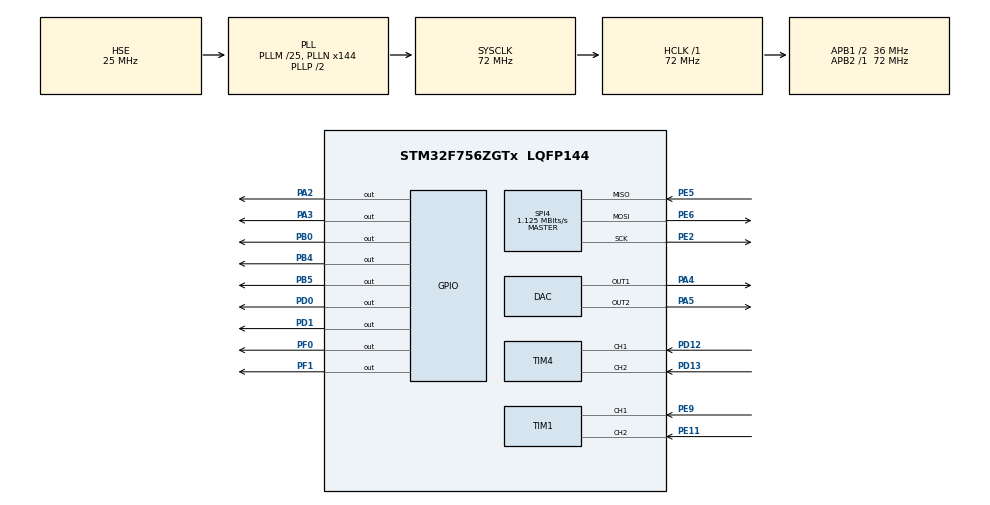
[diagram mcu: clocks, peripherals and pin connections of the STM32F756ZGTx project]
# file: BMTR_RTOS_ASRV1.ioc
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CORTEX_M7.default_mode_Activation=1
FATFS._MAX_SS=4096
FREERTOS.Tasks01=Record,0,128,StartDefaultTask,Default,NULL,Dynamic,NULL,NULL;MainController,3,128,StartTask02,Default,NULL,Dynamic,NULL,NULL
Mcu.Family=STM32F7
Mcu.Name=STM32F756ZGTx
Mcu.Package=LQFP144
NVIC.PriorityGroup=NVIC_PRIORITYGROUP_4
NVIC.TIM5_IRQn=true\:15\:0\:false\:false\:true\:false\:false\:true\:true
NVIC.TIM8_UP_TIM13_IRQn=true\:5\:0\:false\:false\:true\:true\:true\:true\:true
NVIC.TimeBase=TIM5_IRQn
NVIC.TimeBaseIP=TIM5
PA13.Mode=Serial_Wire
PA13.Signal=SYS_JTMS-SWDIO
PA14.Mode=Serial_Wire
PA14.Signal=SYS_JTCK-SWCLK
PA2.Signal=GPIO_Output
PA3.Signal=GPIO_Output
PA4.Signal=COMP_DAC1_group
PA5.Signal=COMP_DAC2_group
PB0.Signal=GPIO_Output
PB4.Signal=GPIO_Output
PB5.Signal=GPIO_Output
PD0.Signal=GPIO_Output
PD1.Signal=GPIO_Output
PD12.Signal=S_TIM4_CH1
PD13.Signal=S_TIM4_CH2
PE11.Signal=S_TIM1_CH2
PE2.Mode=Full_Duplex_Master
PE2.Signal=SPI4_SCK
PE5.Mode=Full_Duplex_Master
PE5.Signal=SPI4_MISO
PE6.Mode=Full_Duplex_Master
PE6.Signal=SPI4_MOSI
PE9.Signal=S_TIM1_CH1
PF0.Signal=GPIO_Output
PF1.Signal=GPIO_Output
PH0/OSC_IN.Mode=HSE-External-Oscillator
PH0/OSC_IN.Signal=RCC_OSC_IN
PH1/OSC_OUT.Mode=HSE-External-Oscillator
PH1/OSC_OUT.Signal=RCC_OSC_OUT
ProjectManager.HeapSize=0x200
ProjectManager.StackSize=0x400
ProjectManager.TargetToolchain=STM32CubeIDE
RCC.AHBFreq_Value=72000000
RCC.APB1CLKDivider=RCC_HCLK_DIV2
RCC.APB1Freq_Value=36000000
RCC.APB1TimFreq_Value=72000000
RCC.APB2Freq_Value=72000000
RCC.APB2TimFreq_Value=72000000
RCC.CortexFreq_Value=72000000
RCC.HCLKFreq_Value=72000000
RCC.HSE_VALUE=25000000
RCC.HSI_VALUE=16000000
RCC.LSE_VALUE=32768
RCC.PLLM=25
RCC.PLLN=144
RCC.PLLSourceVirtual=RCC_PLLSOURCE_HSE
RCC.SYSCLKFreq_VALUE=72000000
RCC.SYSCLKSource=RCC_SYSCLKSOURCE_PLLCLK
RCC.USBFreq_Value=72000000
RCC.VCOOutputFreq_Value=144000000
SH.COMP_DAC1_group.0=DAC_OUT1,DAC_OUT1
SH.COMP_DAC2_group.0=DAC_OUT2,DAC_OUT2
SH.S_TIM1_CH1.0=TIM1_CH1,Encoder_Interface
SH.S_TIM1_CH2.0=TIM1_CH2,Encoder_Interface
SH.S_TIM4_CH1.0=TIM4_CH1,Encoder_Interface
SH.S_TIM4_CH2.0=TIM4_CH2,Encoder_Interface
SPI4.BaudRatePrescaler=SPI_BAUDRATEPRESCALER_64
SPI4.CLKPhase=SPI_PHASE_1EDGE
SPI4.CalculateBaudRate=1.125 MBits/s
SPI4.DataSize=SPI_DATASIZE_8BIT
SPI4.Direction=SPI_DIRECTION_2LINES
SPI4.Mode=SPI_MODE_MASTER
SPI4.VirtualType=VM_MASTER
TIM1.EncoderMode=TIM_ENCODERMODE_TI12
TIM1.IC1Filter=4
TIM1.IC1Polarity=TIM_ICPOLARITY_FALLING
TIM1.IC2Filter=4
TIM1.IC2Polarity=TIM_ICPOLARITY_FALLING
TIM13.Period=999
TIM13.Prescaler=14400-1
TIM2.Period=0xFFFFFFFF
TIM2.Prescaler=72*5-1
TIM4.EncoderMode=TIM_ENCODERMODE_TI12
TIM4.IC1Filter=8
TIM4.IC1Polarity=TIM_ICPOLARITY_FALLING
TIM4.IC2Filter=8
TIM4.IC2Polarity=TIM_ICPOLARITY_FALLING
VP_FATFS_VS_Generic.Mode=User_defined
VP_FREERTOS_VS_CMSIS_V1.Mode=CMSIS_V1
VP_SYS_VS_tim5.Mode=TIM5
VP_TIM13_VS_ClockSourceINT.Mode=Enable_Timer
VP_TIM2_VS_ClockSourceINT.Mode=Internal
board=custom

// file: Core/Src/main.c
/* USER CODE BEGIN Header */
/**
  ******************************************************************************
  * @file           : main.c
  * @brief          : Main program body
  ******************************************************************************
  * @attention
  *
  * Copyright (c) 2025 STMicroelectronics.
  * All rights reserved.
  *
  * This software is licensed under terms that can be found in the LICENSE file
  * in the root directory of this software component.
  * If no LICENSE file comes with this software, it is provided AS-IS.
  *
  ******************************************************************************
  */
/* USER CODE END Header */
#include "main.h"
#include "cmsis_os.h"
#include "fatfs.h"

/* USER CODE BEGIN Includes */
#include "fatfs_sd.h"
#include "string.h"
#include "stdio.h"
#include <math.h>
#include <stdint.h>
#include <stdbool.h>
uint16_t dac_value=500;
/* USER CODE END Includes */

DAC_HandleTypeDef hdac;

SPI_HandleTypeDef hspi4;

TIM_HandleTypeDef htim1;
TIM_HandleTypeDef htim2;
TIM_HandleTypeDef htim4;
TIM_HandleTypeDef htim13;

osThreadId RecordHandle;
osThreadId MainControllerHandle;

void SystemClock_Config(void);
static void MPU_Config(void);
static void MX_GPIO_Init(void);
static void MX_TIM1_Init(void);
static void MX_TIM4_Init(void);
static void MX_TIM13_Init(void);
static void MX_SPI4_Init(void);
static void MX_DAC_Init(void);
static void MX_TIM2_Init(void);
void StartDefaultTask(void const * argument);
void StartTask02(void const * argument);

/* USER CODE BEGIN 0 */
// ────────────── ⏱ Timer & Counter Variables ──────────────
uint32_t MainTaskCount    = 0;
uint32_t RecordTaskCount  = 0;

// ────────────── 📟 Encoder Tick Counters ──────────────
uint32_t encoder_ticks    = 0;        // Current tick count from Encoder 1
uint32_t encoder_ticks_prev = 0;     // Previous tick count from Encoder 1
uint32_t encoder_ticks2   = 0;        // Current tick count from Encoder 2
uint32_t encoder_ticks2_prev = 0;    // Previous tick count from Encoder 2

// ────────────── ⏲ Counters for Events ──────────────
uint32_t MainloopCount    = 0;        // Main loop counter to track loop iterations or events
uint32_t SDCardCount      = 0;        // SD card related counter
uint32_t record_number    = 1;        // Record number counter
uint32_t communicationError = 0;      // Counter for communication errors

// ────────────── ⏳ Timing Variables ──────────────
uint32_t time_interval    = 5;        // Time interval in milliseconds (0.005 seconds at 20 kHz Timer)
uint32_t time_start       = 0;
uint32_t time_end         = 0;
uint32_t secondFromStart  = 0;

// ────────────── 🗄 File System Variables ──────────────
FATFS fs;                         // FatFs structure to manage the file system
FIL fil;                          // File object structure for file operations
FRESULT fresult;                  // Result variable to capture FatFs API function responses

// ────────────── 💾 Buffer for SD Card Operations ──────────────
char buffer[2048];                // Buffer for storing data during SD card operations
UINT br;                           // Bytes read from the file
UINT bw;                           // Bytes written to the file

// ────────────── 🧪 Test & Algorithm Variables ──────────────
FRESULT fresult2;
volatile int EncoderUpdated = 0;
int SDCardRecordMode = 0;

// ────────────── 🚀 Algorithm Code Variables ──────────────
#define CPR 106496.0f//(4096*26)         // Counter Per Revolution
#define MAX_COUNT 65535*26

// Position (angles in rad) for Encoder 1 and Encoder 2
int16_t prev_ticks1 = 0, prev_ticks2 = 0;    // Previous counts for each encoder
float theta1 = 0.0, theta2 = 0.0;
float theta1_prev = 0.0, theta2_prev = 0.0;

// Velocity calculations
float velocity1 = 0.0, velocity2 = 0.0;
float velocity1_prev = 0.0, velocity2_prev = 0.0;
float velocity1Filtered=0.0,velocity2Filtered=0.0;
// Acceleration calculations
float acceleration1 = 0.0, acceleration2 = 0.0;
float acceleration1_prev=0.0;
// ────────────── 🛠 Parameters ──────────────
#define G 90     // Smoothing factor for velocity filter
#define G2 90     // Smoothing factor for velocity filter
// ────────────── ⚙️ Motor 2 Parameters ──────────────
float Icmd2 = 1.1;      // Commanded current (A)
float Ktn2 = 0.0705;    // Torque constant (Nm/A)
float Jn2 = +3069.1e-7; // Motor inertia (kg·m^2)
float Gdis2 = 95.0;     // Disturbance observer gain
float Kt2 = 0.0705;     // Additional torque constant scaling
float Grtob2 = 45.0;    // Reaction torque observer gain
float Fint2 = 0.08;     // Internal force (Nm)
float Ffric2 = 0.04;    // Friction force (Nm)

// ────────────── ⚙️ Motor 1 Physical and Control Parameters ──────────────
float gear_ratio = 26.0f;                   // Gear ratio
float commanded_current = 0.0f;             // Icmd1: Commanded current (A)
float torque_constant_motor = 1.5365f;      // Ktn1: Motor torque constant (Nm/A),(0.0712 x 26 x 0.83)
float motor_inertia = 0.2144f;  //*26*26;           // Jn1: Motor inertia (kg·m²), (0.0003170 x 26 x 26)
float torque_constant_load = 1.5365f;       // Kt1: Load-side torque constant (Nm/A), (0.0712 x 26 x 0.83)
float disturbance_gain = 20.0f;             // Gdis1: DOB gain (~20Hz cutoff)
float reaction_gain = 20.0f;                // Grtob1: RTOB gain (~15Hz cutoff)
float internal_friction = 0.001f;//130f;          // Fint: Internal friction torque (Nm)
float viscous_friction = 0.0003f;           // Ffric: Viscous friction torque (Nm)
float pulses_per_revolution = 1024.0f;       // PPR: Encoder pulses per revolution
int motor_direction_flag = 0;
float dt_torque_constant_motor =0.0f;// Motor1DirB
uint16_t voltage_reference_1=0;
uint16_t voltage_reference_2=0;
// PI Controller gains for acceleration control
float proportional_gain = 5.0f;            // kp
float integral_gain = 0.001f;                // ki
float motor1MaxCurrent=3.0f;
// ────────────── ⏲️ Timing and Sampling ──────────────
float sampling_time = 0.001f;                 // dt_s: Set this appropriately in your loop

// ────────────── 📊 Observer and Control State Variables ──────────────
float previous_torque_error_integral = 0.0f;  // errorPreviousI1

// Output variables
float commanded_acceleration = 0.0f;
float inertia_compensation_current = 0.0f;
float disturbance_current = 0.0f;

// ────────────── 🔍 Disturbance Observer (DOB) Variables ──────────────
float estimated_motor_torque = 0.0f;
float estimated_velocity_disturbance = 0.0f;
float disturbance_observer_input = 0.0f;
float filtered_dob_input = 0.0f;
float filtered_dob_input_prev = 0.0f;
float estimated_torque_disturbance = 0.0f;

// ────────────── 🔍 Reaction Torque Observer (RTOB) Variables ──────────────
float updated_motor_torque = 0.0f;
float reaction_torque_input = 0.0f;
float filtered_reaction_torque = 0.0f;
float filtered_reaction_torque_prev = 0.0f;
float reaction_torque =0.0f;
float motor01_torque_profile_withtheta1 =0.0f;
float assit_torque = 0.0f;
// ────────────── ⚙️ Control Error Terms ──────────────
float desired_torque = 0.25f;                // Set externally per control target
float torque_error = 0.0f;
float torque_error_integral = 0.0f;
float motor_velocity = 0.0f;                // Set from encoder/sensor
float effective_velocity =0.0f;
// ────────────── ⚙️ Motor 2 Physical and Control Parameters ──────────────
float motor02_commanded_current = 0.0f;             // Commanded current (A)
float motor02_torque_constant = 1.5365f;            // Motor torque constant (Nm/A)
float motor02_inertia = 0.2144f;                 // Motor inertia (kg·m²)
float motor02_torque_constant_load = 1.5365f;       // Load-side torque constant (Nm/A)
float motor02_disturbance_gain = 20.1f;             // DOB gain (~20Hz cutoff)
float motor02_reaction_gain = 20.1f;                 // RTOB gain (~15Hz cutoff)
float motor02_internal_friction = 0.001f;          // Internal friction torque (Nm)
float motor02_viscous_friction = 0.0003f;           // Viscous friction torque (Nm)
float motor02_pulses_per_revolution = 1024.0f;       // Encoder pulses per revolution
float motor02_gear_ratio = 26.0f;                    // Gear ratio
int motor02_direction_flag = 0;                       // Motor direction flag

// PI Controller gains for acceleration control
float motor02_proportional_gain = 5.0f;            // kp
float motor02_integral_gain = 0.001f;                 // ki

// ────────────── ⏲️ Timing and Sampling ──────────────
float motor02_sampling_time = 0.001f;                  // dt_s (set appropriately)

// ────────────── 📊 Observer and Control State Variables ──────────────
float motor02_previous_torque_error_integral = 0.0f; // Integral error accumulator
bool reverse_motor2_encoder = true;  // Set to true to reverse Motor 2 encoder direction
// Output variables
float motor02_commanded_acceleration = 0.0f;
float motor02_inertia_compensation_current = 0.0f;
float motor02_disturbance_current = 0.0f;

// ────────────── 🔍 Disturbance Observer (DOB) Variables ──────────────
float motor02_estimated_motor_torque = 0.0f;
float motor02_estimated_velocity_disturbance = 0.0f;
float motor02_disturbance_observer_input = 0.0f;
float motor02_filtered_dob_input = 0.0f;
float motor02_filtered_dob_input_prev = 0.0f;
float motor02_estimated_torque_disturbance = 0.0f;

// ────────────── 🔍 Reaction Torque Observer (RTOB) Variables ──────────────
float motor02_updated_motor_torque = 0.0f;
float motor02_reaction_torque_input = 0.0f;
float motor02_filtered_reaction_torque = 0.0f;
float motor02_filtered_reaction_torque_prev = 0.0f;
float motor02_reaction_torque = 0.0f;
// ────────────── ⚙️ Control Error Terms ──────────────
float motor02_desired_torque = 0.0f;                  // Set externally per control target
float motor02_torque_error = 0.0f;
float motor02_torque_error_integral = 0.0f;
float motor02_motor_velocity = 0.0f;
float motor02_torque_profile_withtheta2 =0.0f;
// ────────────── 🚀 Acceleration Set Points ──────────────
float Set_Accelaration1 = 500;  // Desired acceleration
float Set_Torque1 = 0;  // Desired acceleration
float dt_s = 0.001f;
float ks=6.0f;
#define MOTOR2_DIRECTION_SIGN  (1.0f)  // Set to 1.0f for forward mount, -1.0f for reversed
// ────────────── HAL Status ──────────────
HAL_StatusTypeDef status;
uint16_t OutputVref = 5000;         // DAC output voltage reference value
uint16_t ENABLEmOTOR = 1;         // DAC output voltage reference value

// ────────────── Low-pass Filter Function ──────────────
float applyLowPassFilterVelocity(float X, float Y_old) {
    // Apply the first-order low-pass filter formula
    float Y = Y_old + G *dt_s* (X - Y_old);  // Filtered value
    return Y;
}
float applyLowPassFilterVelocity2(float X, float Y_old) {
    // Apply the first-order low-pass filter formula
    float Y = Y_old + G2 *dt_s* (X - Y_old);  // Filtered value
    return Y;
}
float applyLowPassFilterAcceleration(float X, float Y_old) {
    float alpha = 0.05f;  // Adjust as needed (lower = smoother, higher = faster response)
    return Y_old + alpha * (X - Y_old);
}
// ────────────── Motor Control Functions ──────────────
void ConfigureMotor01(int Enable, int Clockwise, uint16_t dac_value) {
    HAL_GPIO_WritePin(GPIOB, GPIO_PIN_4, Clockwise);
    HAL_GPIO_WritePin(GPIOB, GPIO_PIN_5, Enable);
    HAL_DAC_SetValue(&hdac, DAC_CHANNEL_1, DAC_ALIGN_12B_R, dac_value);
}

void ConfigureMotor02(int Enable, int Clockwise, uint16_t dac_value) {
    HAL_GPIO_WritePin(GPIOA, GPIO_PIN_2, Clockwise);
    HAL_GPIO_WritePin(GPIOA, GPIO_PIN_3, Enable);
    HAL_DAC_SetValue(&hdac, DAC_CHANNEL_2, DAC_ALIGN_12B_R, dac_value);
}
void UpdateMotor01CommandedCurrent(void)
{
    /*********************************************************
     *        Disturbance Observer for Motor 01             *
     *********************************************************/

    // Calculate motor torque from commanded current
    estimated_motor_torque = commanded_current * torque_constant_motor;

    // Estimate velocity disturbance
    estimated_velocity_disturbance = motor_velocity * motor_inertia * disturbance_gain;
    //estimated_velocity_disturbance = updated_motor_torque + motor_velocity * motor_inertia * reaction_gain - (internal_friction + viscous_friction * motor_velocity);
    // Input to disturbance observer filter
    disturbance_observer_input = estimated_motor_torque + estimated_velocity_disturbance;

    // Apply low-pass filter (difference equation form)
    filtered_dob_input = filtered_dob_input_prev + (disturbance_gain * sampling_time)* (disturbance_observer_input - filtered_dob_input_prev);
    filtered_dob_input_prev = filtered_dob_input;

    // Estimate torque disturbance and convert to equivalent current
    estimated_torque_disturbance = filtered_dob_input - estimated_velocity_disturbance;
    disturbance_current = estimated_torque_disturbance / torque_constant_motor;

    /*********************************************************
     *   Torque Observer + PI Controller to Set Acceleration
     *********************************************************/

    // Recompute torque with updated current (for reaction estimation)
    estimated_motor_torque = commanded_current * torque_constant_motor;

    // Estimate total reaction torque input (includes inertia and losses)
    estimated_velocity_disturbance = motor_velocity * motor_inertia * reaction_gain;
    //Delta torque_constant_motor,  Delta torque_constant_motor
    reaction_torque_input = estimated_motor_torque +  estimated_velocity_disturbance - (internal_friction + (viscous_friction * motor_velocity) - (dt_torque_constant_motor*commanded_current));

    // Apply low-pass filter for reaction torque estimate
    filtered_reaction_torque = filtered_reaction_torque_prev + (reaction_gain * sampling_time) * (reaction_torque_input - filtered_reaction_torque_prev);
    filtered_reaction_torque_prev = filtered_reaction_torque;

    // Subtract inertial effect to isolate external torque

    reaction_torque = filtered_reaction_torque - estimated_velocity_disturbance;
    //desired_torque = motor01_torque_profile_withtheta1;
    // PI Controller for acceleration control
    torque_error = (desired_torque - reaction_torque);
    torque_error_integral = (torque_error * sampling_time) + previous_torque_error_integral;
    previous_torque_error_integral = torque_error_integral;

    commanded_acceleration = (proportional_gain * torque_error) + (integral_gain * torque_error_integral);

    // Compute inertia-driven current command
    inertia_compensation_current = (motor_inertia * commanded_acceleration) / torque_constant_motor;

    // Final commanded current is inertia compensation + disturbance compensation
    //commanded_current = inertia_compensation_current + disturbance_current;
     commanded_current = inertia_compensation_current+ disturbance_current; //added for DOB tuning
     desired_torque=ks*(theta2-theta1)-reaction_torque-motor02_reaction_torque;
}
void UpdateMotor02CommandedCurrent(void)
{
    /*********************************************************
     *  1. Disturbance Observer for Motor 02
     *********************************************************/

    // Calculate estimated motor torque
    motor02_estimated_motor_torque = motor02_commanded_current * motor02_torque_constant;

    // Apply direction correction to velocity
    effective_velocity = MOTOR2_DIRECTION_SIGN * motor02_motor_velocity;

    // Estimate velocity disturbance
    motor02_estimated_velocity_disturbance = effective_velocity * motor02_inertia * motor02_disturbance_gain;

    // Input to disturbance observer filter
    motor02_disturbance_observer_input = motor02_estimated_motor_torque + motor02_estimated_velocity_disturbance;

    // Low-pass filter (difference equation form)
    motor02_filtered_dob_input = motor02_filtered_dob_input_prev +
                                 (motor02_disturbance_gain * motor02_sampling_time) *
                                 (motor02_disturbance_observer_input - motor02_filtered_dob_input_prev);
    motor02_filtered_dob_input_prev = motor02_filtered_dob_input;

    // Torque disturbance and equivalent current
    motor02_estimated_torque_disturbance = motor02_filtered_dob_input - motor02_estimated_velocity_disturbance;
    motor02_disturbance_current = motor02_estimated_torque_disturbance / motor02_torque_constant;

    /*********************************************************
     *   Torque Observer + PI Controller to Set Acceleration
     *********************************************************/

    motor02_updated_motor_torque = motor02_commanded_current * motor02_torque_constant;

    motor02_reaction_torque_input = motor02_updated_motor_torque + motor02_estimated_velocity_disturbance
                                    - (motor02_internal_friction + motor02_viscous_friction * effective_velocity);

    motor02_filtered_reaction_torque = motor02_filtered_reaction_torque_prev +
                                       (motor02_reaction_gain * motor02_sampling_time) *
                                       (motor02_reaction_torque_input - motor02_filtered_reaction_torque_prev);
    motor02_filtered_reaction_torque_prev = motor02_filtered_reaction_torque;

    motor02_reaction_torque = motor02_filtered_reaction_torque -
                              (effective_velocity * motor02_inertia * motor02_reaction_gain);

    motor02_torque_error = motor02_desired_torque - motor02_reaction_torque;
    motor02_torque_error_integral = (motor02_torque_error * motor02_sampling_time) + motor02_previous_torque_error_integral;
    motor02_previous_torque_error_integral = motor02_torque_error_integral;

    motor02_commanded_acceleration =
        (motor02_proportional_gain * motor02_torque_error) +
        (motor02_integral_gain * motor02_torque_error_integral);

    motor02_inertia_compensation_current =
        (motor02_inertia * motor02_commanded_acceleration) / motor02_torque_constant;

    motor02_commanded_current = motor02_inertia_compensation_current + motor02_disturbance_current;
    assit_torque = MOTOR2_DIRECTION_SIGN*ks*(theta1-theta2)+reaction_torque+motor02_reaction_torque;

}

/* USER CODE END 0 */

int main(void)
{

  /* MPU Configuration--------------------------------------------------------*/
  MPU_Config();

  /* MCU Configuration--------------------------------------------------------*/

  /* Reset of all peripherals, Initializes the Flash interface and the Systick. */
  HAL_Init();

  /* Configure the system clock */
  SystemClock_Config();

  /* Initialize all configured peripherals */
  MX_GPIO_Init();
  MX_TIM1_Init();
  MX_TIM4_Init();
  MX_TIM13_Init();
  MX_SPI4_Init();
  MX_FATFS_Init();
  MX_DAC_Init();
  MX_TIM2_Init();
  /* USER CODE BEGIN 2 */
  HAL_TIM_Encoder_Start(&htim4, TIM_CHANNEL_ALL);
  HAL_TIM_Encoder_Start(&htim1, TIM_CHANNEL_ALL);
  HAL_TIM_Base_Start(&htim2);
  HAL_DAC_Start(&hdac, DAC_CHANNEL_1);
  HAL_DAC_Start(&hdac, DAC_CHANNEL_2);
  /* USER CODE END 2 */

  /* Create the thread(s) */
  /* definition and creation of Record */
  osThreadDef(Record, StartDefaultTask, osPriorityNormal, 0, 128);
  RecordHandle = osThreadCreate(osThread(Record), NULL);

  /* definition and creation of MainController */
  osThreadDef(MainController, StartTask02, osPriorityRealtime, 0, 128);
  MainControllerHandle = osThreadCreate(osThread(MainController), NULL);

  /* Start scheduler */
  osKernelStart();

  /* We should never get here as control is now taken by the scheduler */

  /* Infinite loop */
  while (1)
  {

  }
}

void SystemClock_Config(void)
{
  RCC_OscInitTypeDef RCC_OscInitStruct = {0};
  RCC_ClkInitTypeDef RCC_ClkInitStruct = {0};

  /** Configure the main internal regulator output voltage
  */
  __HAL_RCC_PWR_CLK_ENABLE();
  __HAL_PWR_VOLTAGESCALING_CONFIG(PWR_REGULATOR_VOLTAGE_SCALE3);

  /** Initializes the RCC Oscillators according to the specified parameters
  * in the RCC_OscInitTypeDef structure.
  */
  RCC_OscInitStruct.OscillatorType = RCC_OSCILLATORTYPE_HSE;
  RCC_OscInitStruct.HSEState = RCC_HSE_ON;
  RCC_OscInitStruct.PLL.PLLState = RCC_PLL_ON;
  RCC_OscInitStruct.PLL.PLLSource = RCC_PLLSOURCE_HSE;
  RCC_OscInitStruct.PLL.PLLM = 25;
  RCC_OscInitStruct.PLL.PLLN = 144;
  RCC_OscInitStruct.PLL.PLLP = RCC_PLLP_DIV2;
  RCC_OscInitStruct.PLL.PLLQ = 2;
  if (HAL_RCC_OscConfig(&RCC_OscInitStruct) != HAL_OK)
  {
    Error_Handler();
  }

  /** Initializes the CPU, AHB and APB buses clocks
  */
  RCC_ClkInitStruct.ClockType = RCC_CLOCKTYPE_HCLK|RCC_CLOCKTYPE_SYSCLK
                              |RCC_CLOCKTYPE_PCLK1|RCC_CLOCKTYPE_PCLK2;
  RCC_ClkInitStruct.SYSCLKSource = RCC_SYSCLKSOURCE_PLLCLK;
  RCC_ClkInitStruct.AHBCLKDivider = RCC_SYSCLK_DIV1;
  RCC_ClkInitStruct.APB1CLKDivider = RCC_HCLK_DIV2;
  RCC_ClkInitStruct.APB2CLKDivider = RCC_HCLK_DIV1;

  if (HAL_RCC_ClockConfig(&RCC_ClkInitStruct, FLASH_LATENCY_2) != HAL_OK)
  {
    Error_Handler();
  }
}

static void MX_DAC_Init(void)
{

  DAC_ChannelConfTypeDef sConfig = {0};

  /** DAC Initialization
  */
  hdac.Instance = DAC;
  if (HAL_DAC_Init(&hdac) != HAL_OK)
  {
    Error_Handler();
  }

  /** DAC channel OUT1 config
  */
  sConfig.DAC_Trigger = DAC_TRIGGER_NONE;
  sConfig.DAC_OutputBuffer = DAC_OUTPUTBUFFER_ENABLE;
  if (HAL_DAC_ConfigChannel(&hdac, &sConfig, DAC_CHANNEL_1) != HAL_OK)
  {
    Error_Handler();
  }

  /** DAC channel OUT2 config
  */
  if (HAL_DAC_ConfigChannel(&hdac, &sConfig, DAC_CHANNEL_2) != HAL_OK)
  {
    Error_Handler();
  }

}

static void MX_SPI4_Init(void)
{

  /* SPI4 parameter configuration*/
  hspi4.Instance = SPI4;
  hspi4.Init.Mode = SPI_MODE_MASTER;
  hspi4.Init.Direction = SPI_DIRECTION_2LINES;
  hspi4.Init.DataSize = SPI_DATASIZE_8BIT;
  hspi4.Init.CLKPolarity = SPI_POLARITY_LOW;
  hspi4.Init.CLKPhase = SPI_PHASE_1EDGE;
  hspi4.Init.NSS = SPI_NSS_SOFT;
  hspi4.Init.BaudRatePrescaler = SPI_BAUDRATEPRESCALER_64;
  hspi4.Init.FirstBit = SPI_FIRSTBIT_MSB;
  hspi4.Init.TIMode = SPI_TIMODE_DISABLE;
  hspi4.Init.CRCCalculation = SPI_CRCCALCULATION_DISABLE;
  hspi4.Init.CRCPolynomial = 7;
  hspi4.Init.CRCLength = SPI_CRC_LENGTH_DATASIZE;
  hspi4.Init.NSSPMode = SPI_NSS_PULSE_ENABLE;
  if (HAL_SPI_Init(&hspi4) != HAL_OK)
  {
    Error_Handler();
  }

}

static void MX_TIM1_Init(void)
{

  TIM_Encoder_InitTypeDef sConfig = {0};
  TIM_MasterConfigTypeDef sMasterConfig = {0};

  htim1.Instance = TIM1;
  htim1.Init.Prescaler = 0;
  htim1.Init.CounterMode = TIM_COUNTERMODE_UP;
  htim1.Init.Period = 65535;
  htim1.Init.ClockDivision = TIM_CLOCKDIVISION_DIV1;
  htim1.Init.RepetitionCounter = 0;
  htim1.Init.AutoReloadPreload = TIM_AUTORELOAD_PRELOAD_DISABLE;
  sConfig.EncoderMode = TIM_ENCODERMODE_TI12;
  sConfig.IC1Polarity = TIM_ICPOLARITY_FALLING;
  sConfig.IC1Selection = TIM_ICSELECTION_DIRECTTI;
  sConfig.IC1Prescaler = TIM_ICPSC_DIV1;
  sConfig.IC1Filter = 4;
  sConfig.IC2Polarity = TIM_ICPOLARITY_FALLING;
  sConfig.IC2Selection = TIM_ICSELECTION_DIRECTTI;
  sConfig.IC2Prescaler = TIM_ICPSC_DIV1;
  sConfig.IC2Filter = 4;
  if (HAL_TIM_Encoder_Init(&htim1, &sConfig) != HAL_OK)
  {
    Error_Handler();
  }
  sMasterConfig.MasterOutputTrigger = TIM_TRGO_RESET;
  sMasterConfig.MasterOutputTrigger2 = TIM_TRGO2_RESET;
  sMasterConfig.MasterSlaveMode = TIM_MASTERSLAVEMODE_DISABLE;
  if (HAL_TIMEx_MasterConfigSynchronization(&htim1, &sMasterConfig) != HAL_OK)
  {
    Error_Handler();
  }

}

static void MX_TIM2_Init(void)
{

  TIM_ClockConfigTypeDef sClockSourceConfig = {0};
  TIM_MasterConfigTypeDef sMasterConfig = {0};

  htim2.Instance = TIM2;
  htim2.Init.Prescaler = 72*5-1;
  htim2.Init.CounterMode = TIM_COUNTERMODE_UP;
  htim2.Init.Period = 0xFFFFFFFF;
  htim2.Init.ClockDivision = TIM_CLOCKDIVISION_DIV1;
  htim2.Init.AutoReloadPreload = TIM_AUTORELOAD_PRELOAD_DISABLE;
  if (HAL_TIM_Base_Init(&htim2) != HAL_OK)
  {
    Error_Handler();
  }
  sClockSourceConfig.ClockSource = TIM_CLOCKSOURCE_INTERNAL;
  if (HAL_TIM_ConfigClockSource(&htim2, &sClockSourceConfig) != HAL_OK)
  {
    Error_Handler();
  }
  sMasterConfig.MasterOutputTrigger = TIM_TRGO_RESET;
  sMasterConfig.MasterSlaveMode = TIM_MASTERSLAVEMODE_DISABLE;
  if (HAL_TIMEx_MasterConfigSynchronization(&htim2, &sMasterConfig) != HAL_OK)
  {
    Error_Handler();
  }

}

static void MX_TIM4_Init(void)
{

  TIM_Encoder_InitTypeDef sConfig = {0};
  TIM_MasterConfigTypeDef sMasterConfig = {0};

  htim4.Instance = TIM4;
  htim4.Init.Prescaler = 0;
  htim4.Init.CounterMode = TIM_COUNTERMODE_UP;
  htim4.Init.Period = 65535;
  htim4.Init.ClockDivision = TIM_CLOCKDIVISION_DIV1;
  htim4.Init.AutoReloadPreload = TIM_AUTORELOAD_PRELOAD_DISABLE;
  sConfig.EncoderMode = TIM_ENCODERMODE_TI12;
  sConfig.IC1Polarity = TIM_ICPOLARITY_FALLING;
  sConfig.IC1Selection = TIM_ICSELECTION_DIRECTTI;
  sConfig.IC1Prescaler = TIM_ICPSC_DIV1;
  sConfig.IC1Filter = 8;
  sConfig.IC2Polarity = TIM_ICPOLARITY_FALLING;
  sConfig.IC2Selection = TIM_ICSELECTION_DIRECTTI;
  sConfig.IC2Prescaler = TIM_ICPSC_DIV1;
  sConfig.IC2Filter = 8;
  if (HAL_TIM_Encoder_Init(&htim4, &sConfig) != HAL_OK)
  {
    Error_Handler();
  }
  sMasterConfig.MasterOutputTrigger = TIM_TRGO_RESET;
  sMasterConfig.MasterSlaveMode = TIM_MASTERSLAVEMODE_DISABLE;
  if (HAL_TIMEx_MasterConfigSynchronization(&htim4, &sMasterConfig) != HAL_OK)
  {
    Error_Handler();
  }

}

static void MX_TIM13_Init(void)
{

  htim13.Instance = TIM13;
  htim13.Init.Prescaler = 14400-1;
  htim13.Init.CounterMode = TIM_COUNTERMODE_UP;
  htim13.Init.Period = 999;
  htim13.Init.ClockDivision = TIM_CLOCKDIVISION_DIV1;
  htim13.Init.AutoReloadPreload = TIM_AUTORELOAD_PRELOAD_DISABLE;
  if (HAL_TIM_Base_Init(&htim13) != HAL_OK)
  {
    Error_Handler();
  }

}

static void MX_GPIO_Init(void)
{
  GPIO_InitTypeDef GPIO_InitStruct = {0};

  /* GPIO Ports Clock Enable */
  __HAL_RCC_GPIOE_CLK_ENABLE();
  __HAL_RCC_GPIOF_CLK_ENABLE();
  __HAL_RCC_GPIOH_CLK_ENABLE();
  __HAL_RCC_GPIOA_CLK_ENABLE();
  __HAL_RCC_GPIOB_CLK_ENABLE();
  __HAL_RCC_GPIOD_CLK_ENABLE();

  /*Configure GPIO pin Output Level */
  HAL_GPIO_WritePin(GPIOF, GPIO_PIN_0|GPIO_PIN_1, GPIO_PIN_RESET);

  /*Configure GPIO pin Output Level */
  HAL_GPIO_WritePin(GPIOA, GPIO_PIN_2|GPIO_PIN_3, GPIO_PIN_RESET);

  /*Configure GPIO pin Output Level */
  HAL_GPIO_WritePin(GPIOB, GPIO_PIN_0|GPIO_PIN_4|GPIO_PIN_5, GPIO_PIN_RESET);

  /*Configure GPIO pin Output Level */
  HAL_GPIO_WritePin(GPIOD, GPIO_PIN_0|GPIO_PIN_1, GPIO_PIN_RESET);

  /*Configure GPIO pins : PF0 PF1 */
  GPIO_InitStruct.Pin = GPIO_PIN_0|GPIO_PIN_1;
  GPIO_InitStruct.Mode = GPIO_MODE_OUTPUT_PP;
  GPIO_InitStruct.Pull = GPIO_NOPULL;
  GPIO_InitStruct.Speed = GPIO_SPEED_FREQ_LOW;
  HAL_GPIO_Init(GPIOF, &GPIO_InitStruct);

  /*Configure GPIO pins : PA2 PA3 */
  GPIO_InitStruct.Pin = GPIO_PIN_2|GPIO_PIN_3;
  GPIO_InitStruct.Mode = GPIO_MODE_OUTPUT_PP;
  GPIO_InitStruct.Pull = GPIO_NOPULL;
  GPIO_InitStruct.Speed = GPIO_SPEED_FREQ_LOW;
  HAL_GPIO_Init(GPIOA, &GPIO_InitStruct);

  /*Configure GPIO pins : PB0 PB4 PB5 */
  GPIO_InitStruct.Pin = GPIO_PIN_0|GPIO_PIN_4|GPIO_PIN_5;
  GPIO_InitStruct.Mode = GPIO_MODE_OUTPUT_PP;
  GPIO_InitStruct.Pull = GPIO_NOPULL;
  GPIO_InitStruct.Speed = GPIO_SPEED_FREQ_LOW;
  HAL_GPIO_Init(GPIOB, &GPIO_InitStruct);

  /*Configure GPIO pins : PD0 PD1 */
  GPIO_InitStruct.Pin = GPIO_PIN_0|GPIO_PIN_1;
  GPIO_InitStruct.Mode = GPIO_MODE_OUTPUT_PP;
  GPIO_InitStruct.Pull = GPIO_NOPULL;
  GPIO_InitStruct.Speed = GPIO_SPEED_FREQ_LOW;
  HAL_GPIO_Init(GPIOD, &GPIO_InitStruct);

}

void StartDefaultTask(void const * argument)
{
  /* USER CODE BEGIN 5 */
  /* Infinite loop */
  for(;;)
  {
	  /*********************************************************
	   *                  Main Task Counter Update              *
	   *********************************************************/
	  MainTaskCount++;
	  time_start = __HAL_TIM_GET_COUNTER(&htim2);
	  MainloopCount++;
	  if (time_interval == 0) time_interval = 1;  // Safety check (avoid division by zero)

	  /*********************************************************
	   *                Read Encoder Tick Counts               *
	   *********************************************************/
	  EncoderUpdated = 0;
	  encoder_ticks = __HAL_TIM_GET_COUNTER(&htim1);   // Encoder 1
	  encoder_ticks2 = __HAL_TIM_GET_COUNTER(&htim4);  // Encoder 2
	  EncoderUpdated = 1;
	  /*********************************************************
	   *                 Time from Start (in sec)              *
	   *********************************************************/
	  secondFromStart = __HAL_TIM_GET_COUNTER(&htim2) / 100000;

	  /*********************************************************
	   *           Compute Position, Velocity, Acceleration    *
	   *                  For Encoder 1 (Motor 1)              *
	   *********************************************************/

	  // Persistent variable
	  static int16_t prev_ticks1 = 0;

	  // Read current encoder count
	  int16_t curr_ticks1 = __HAL_TIM_GET_COUNTER(&htim1);
	  int16_t delta_ticks1 = (int16_t)(curr_ticks1 - prev_ticks1);  // Handles overflow
	  prev_ticks1 = curr_ticks1;

	  // Compute delta angle and accumulate
	  float delta_theta1 = ((float)delta_ticks1) * 2.0f * M_PI / CPR;
	  theta1 += delta_theta1;

	  // Velocity and acceleration
	  velocity1 = (theta1 - theta1_prev) / dt_s;
	  motor_velocity = velocity1_prev + G *dt_s* (velocity1 - velocity1_prev);
	  velocity1_prev = motor_velocity;
	  //float raw_acceleration1 = (velocity1 - velocity1_prev) / dt_s;
	  //acceleration1 = (1 - 0.1f) * acceleration1 + 0.1f * raw_acceleration1;  // Low-pass filter

	  // Apply velocity filter
	  //motor_velocity = applyLowPassFilterVelocity(velocity1, velocity1_prev);

	  // Update previous states
	  // THEN update for next loop
	  theta1_prev = theta1;

	  /*********************************************************
	   *           Compute Position, Velocity, Acceleration    *
	   *                  For Encoder 2 (Motor 2)              *
	   *********************************************************/

	  // Persistent variable
	  static int16_t prev_ticks2 = 0;

	  // Read current encoder count
	  int16_t curr_ticks2 = __HAL_TIM_GET_COUNTER(&htim4);
	  //int16_t delta_ticks2 = (int16_t)(curr_ticks2 - prev_ticks2);  // Handles overflow
	  // Compute delta and reverse if needed
	  int16_t delta_ticks2 = (int16_t)(curr_ticks2 - prev_ticks2);
	  prev_ticks2 = curr_ticks2;

	  // Compute delta angle and accumulate
	  float delta_theta2 = ((float)delta_ticks2) * (MOTOR2_DIRECTION_SIGN *2.0f * M_PI )/ CPR;
	  theta2 += delta_theta2;

	  // Velocity and acceleration
	  velocity2 = (theta2 - theta2_prev) / dt_s;
	  float raw_acceleration2 = (velocity2 - velocity2_prev) / dt_s;
	  acceleration2 = (1 - 0.1f) * acceleration2 + 0.1f * raw_acceleration2;  // Low-pass filter

	  // Apply velocity filter
	  motor02_motor_velocity = applyLowPassFilterVelocity2(velocity2, velocity2_prev);

	  // Update previous states
	  theta2_prev = theta2;
	  velocity2_prev = motor02_motor_velocity;
	  UpdateMotor01CommandedCurrent();
	  UpdateMotor02CommandedCurrent();
	  //UpdateMotor02CommandedCurrentReversed();
//Master-left, follower-right
	  //desired_torque = motor02_desired_torque-assit_torque; // make sure to change the reaction torque in data print
// Default: Master-right , follower -left (most of them are right-handed)
	 motor02_desired_torque = desired_torque - assit_torque;
	  /*********************************************************
	   *         Motor Output Control & Saturation            *
	   *********************************************************/
	  // Limit commanded current to ±3.0 A and set motor direction
	  if (commanded_current > motor1MaxCurrent) {
	      commanded_current = motor1MaxCurrent;
	      motor_direction_flag = 1;  // Forward
	      voltage_reference_1 = (4095.0f / motor1MaxCurrent) * fabsf(commanded_current);
	  }
	  else if (commanded_current < -3.0f) {
	      commanded_current = -3.0f;
	      motor_direction_flag = 0;  // Reverse
	      voltage_reference_1 = (4095.0f / motor1MaxCurrent) * fabsf(-1*commanded_current);
	  }
	  else {
	      // Current is within safe bounds; determine direction by sign
	      if (commanded_current >= 0.0f) {
	          motor_direction_flag = 1;  // Forward
	          voltage_reference_1 = (4095.0f /motor1MaxCurrent) * fabsf(commanded_current);
	      } else {
	          motor_direction_flag = 0;  // Reverse
	          voltage_reference_1 = (4095.0f / motor1MaxCurrent) * fabsf(-1*commanded_current);
	      }
	  }

	  // Convert current to PWM duty cycle (12-bit scale), store in voltage_reference_1

	  // Apply output using reference voltage and direction
	  ConfigureMotor01(ENABLEmOTOR, motor_direction_flag, voltage_reference_1);
	  // Limit commanded current to ±3.0 A and set motor direction
	  if (motor02_commanded_current > 3.0f) {
		  motor02_commanded_current = 3.0f;
		  motor02_direction_flag = 1;  // Forward direction
		  voltage_reference_2 = (4095.0f / 3.0f) * fabsf(motor02_commanded_current);
	  }
	  else if (motor02_commanded_current < -3.0f) {
		  motor02_commanded_current = -3.0f;
		  motor02_direction_flag = 0;  // Reverse direction
		  voltage_reference_2 = (4095.0f / 3.0f) * fabsf(-1*motor02_commanded_current);
	  }
	  else {
	      // Current is within safe bounds; determine direction by sign
	      if (motor02_commanded_current >= 0.0f) {
	    	  motor02_direction_flag = 1;  // Forward
	    	  voltage_reference_2 = (4095.0f / 3.0f) * fabsf(motor02_commanded_current);
	      } else {
	    	  motor02_direction_flag = 0;  // Reverse
	          voltage_reference_2 = (4095.0f / 3.0f) * fabsf(-1*motor02_commanded_current);
	      }
	  }

	  // Convert commanded current to PWM duty cycle (12-bit scale)
	  // Assuming 3.3V corresponds to max current of 3A
	  //voltage_reference_2 = (4096.0f / 3.3f) * fabsf(motor02_commanded_current);

	  ConfigureMotor02(ENABLEmOTOR, motor02_direction_flag, voltage_reference_2);
	  // Apply output using reference voltage and direction
	  //ConfigureMotor02(ENABLEmOTOR, Motor1DirB, Icmd1 * (4096) / 3.3);

	  /*********************************************************
	   *               Update Time Interval                   *
	   *********************************************************/

	  osDelay(2);
	  time_end = __HAL_TIM_GET_COUNTER(&htim2);

  }
  /* USER CODE END 5 */
}

void StartTask02(void const * argument)
{
  /* USER CODE BEGIN StartTask02 */
  /* Infinite loop */
  for(;;)
  {

	if (SDCardRecordMode==1){
    SDCardCount++;
    if (EncoderUpdated == 1 && communicationError==0) {
        FRESULT fr;
        UINT bytes_written;

        // Open the file for appending
        fr = f_open(&fil, "Data.txt", FA_OPEN_APPEND | FA_WRITE);
        if (fr != FR_OK) {
            // Optional: Handle error (blink LED, set flag, etc.)
        	communicationError=1;
            return;
        }

        // Format the record number and encoder tick data into a string
        sprintf(buffer, "R%lu: E1: %lu, E2: %lu\n", SDCardCount, encoder_ticks, encoder_ticks2);
        //"R%lu: E1: %lu, E2: %lu\n"
        // Write to the file
        fr = f_write(&fil, buffer, strlen(buffer), &bytes_written);
        if (fr != FR_OK || bytes_written == 0) {
            f_close(&fil);  // Close anyway if open
            communicationError=1;
            return;
        }

        // Close the file
        fr = f_close(&fil);
        if (fr != FR_OK) {
        	communicationError=1;
            return;
        }

        EncoderUpdated = 0;
        record_number++;
    }
	}
	else {
//		// ===== STM32 Side (Master - Transmitter) =====
//		// Transmit 1 int + 5 floats (20 bytes) + start marker (1 byte) + CRC (1 byte) = 22 bytes
//
//		uint8_t txBuf[22];
//		uint8_t rxBuf[22];
//
//		memset(txBuf, 0, sizeof(txBuf));
//		memset(rxBuf, 0, sizeof(rxBuf));  // 💡 Important flush
//
//		txBuf[0] = 0xAA;
//		memcpy(&txBuf[1],  &time_start, sizeof(int));
//		memcpy(&txBuf[5],  &motor02_reaction_torque, sizeof(float));
//		memcpy(&txBuf[9],  &desired_torque, sizeof(float));
//		memcpy(&txBuf[13], &theta1, sizeof(float));
//		memcpy(&txBuf[17], &theta2, sizeof(float));
//
//		// CRC
//		uint8_t crc = 0;
//		for (int i = 0; i < 21; i++) {
//		    crc ^= txBuf[i];
//		}
//		txBuf[21] = crc;
//
//		// SPI transmit
//		HAL_GPIO_WritePin(GPIOB, GPIO_PIN_0, GPIO_PIN_RESET);
//		HAL_Delay(1);
//		HAL_SPI_TransmitReceive(&hspi4, txBuf, rxBuf, sizeof(txBuf), HAL_MAX_DELAY);
//		HAL_Delay(1);
//		HAL_GPIO_WritePin(GPIOB, GPIO_PIN_0, GPIO_PIN_SET);
//		HAL_Delay(1);  // can increase to 3–5 ms if instability persists
//  // Delay before next cycle
	}

	osDelay(5);
  }
}
  /* USER CODE END StartTask02 */

 /* MPU Configuration */

void MPU_Config(void)
{
  MPU_Region_InitTypeDef MPU_InitStruct = {0};

  /* Disables the MPU */
  HAL_MPU_Disable();

  /** Initializes and configures the Region and the memory to be protected
  */
  MPU_InitStruct.Enable = MPU_REGION_ENABLE;
  MPU_InitStruct.Number = MPU_REGION_NUMBER0;
  MPU_InitStruct.BaseAddress = 0x0;
  MPU_InitStruct.Size = MPU_REGION_SIZE_4GB;
  MPU_InitStruct.SubRegionDisable = 0x87;
  MPU_InitStruct.TypeExtField = MPU_TEX_LEVEL0;
  MPU_InitStruct.AccessPermission = MPU_REGION_NO_ACCESS;
  MPU_InitStruct.DisableExec = MPU_INSTRUCTION_ACCESS_DISABLE;
  MPU_InitStruct.IsShareable = MPU_ACCESS_SHAREABLE;
  MPU_InitStruct.IsCacheable = MPU_ACCESS_NOT_CACHEABLE;
  MPU_InitStruct.IsBufferable = MPU_ACCESS_NOT_BUFFERABLE;

  HAL_MPU_ConfigRegion(&MPU_InitStruct);
  /* Enables the MPU */
  HAL_MPU_Enable(MPU_PRIVILEGED_DEFAULT);

}

void HAL_TIM_PeriodElapsedCallback(TIM_HandleTypeDef *htim)
{
  if (htim->Instance == TIM5)
  {
    HAL_IncTick();
  }
}

void Error_Handler(void)
{
  __disable_irq();
  while (1)
  {
  }
}
